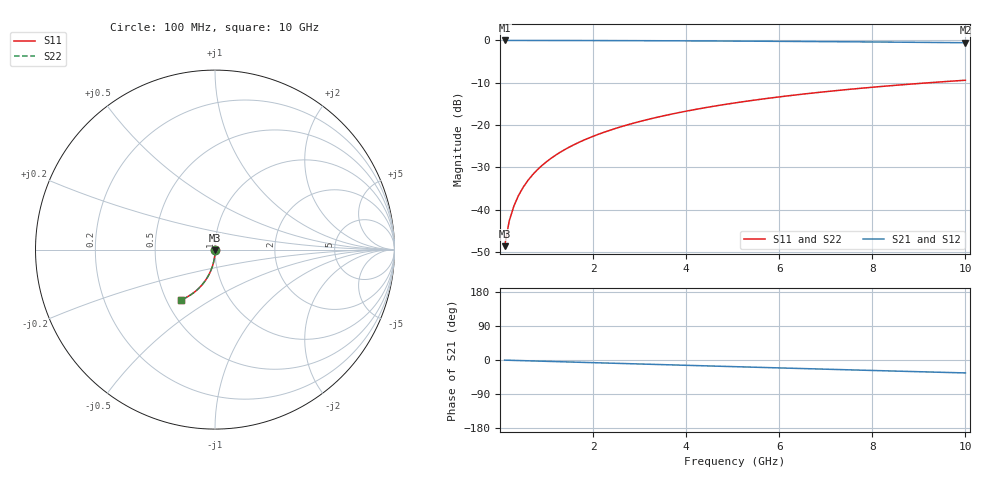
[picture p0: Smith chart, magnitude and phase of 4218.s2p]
# Hz S RI R 50.00
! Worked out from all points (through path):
!   100 points, 100 MHz to 10 GHz, reference 50 ohm
!   highest |S21| = 0.00 dB at 100 MHz (marker M1); lowest = -0.5 dB at 10 GHz (marker M2)
!   group delay of S21, straight-line fit = 9.51 ps
!   lowest |S11| = -48.6 dB at 100 MHz (marker M3), VSWR 1.01, Z = 50 - j0.369 ohm
!   |S11| at or under -10 dB: start of sweep to 9.216 GHz
!   |S22| runs from -48.6 to -9.4 dB; largest |S21 - S12| = 0
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1e8  0.000331 -0.00369  0.9996 -0.00611  0.9996 -0.00611  0.000331 -0.00369
2e8  0.000261 -0.00738  0.9995 -0.0122  0.9995 -0.0122  0.000261 -0.00738
3e8  0.000146 -0.0111  0.9994 -0.0183  0.9994 -0.0183  0.000146 -0.0111
4e8  -1.51e-05 -0.0147  0.9992 -0.0244  0.9992 -0.0244  -1.51e-05 -0.0147
5e8  -0.000221 -0.0184  0.999 -0.0305  0.999 -0.0305  -0.000221 -0.0184
6e8  -0.000472 -0.0221  0.9987 -0.0366  0.9987 -0.0366  -0.000472 -0.0221
7e8  -0.000769 -0.0258  0.9984 -0.0427  0.9984 -0.0427  -0.000769 -0.0258
8e8  -0.00111 -0.0295  0.998 -0.0488  0.998 -0.0488  -0.00111 -0.0295
9e8  -0.0015 -0.0331  0.9975 -0.0549  0.9975 -0.0549  -0.0015 -0.0331
1.1e9  -0.0024 -0.0405  0.9965 -0.0671  0.9965 -0.0671  -0.0024 -0.0405
1.4e9  -0.0041 -0.0514  0.9946 -0.0853  0.9946 -0.0853  -0.0041 -0.0514
1.8e9  -0.00698 -0.0659  0.9913 -0.1095  0.9913 -0.1095  -0.00698 -0.0659
2.1e9  -0.00961 -0.0766  0.9883 -0.1275  0.9883 -0.1275  -0.00961 -0.0766
2.5e9  -0.0137 -0.0908  0.9837 -0.1514  0.9837 -0.1514  -0.0137 -0.0908
2.9e9  -0.0185 -0.1048  0.9783 -0.1751  0.9783 -0.1751  -0.0185 -0.1048
3.4e9  -0.0254 -0.1218  0.9704 -0.2043  0.9704 -0.2043  -0.0254 -0.1218
4.2e9  -0.0386 -0.148  0.9554 -0.2502  0.9554 -0.2502  -0.0386 -0.148
5.1e9  -0.0562 -0.1757  0.9353 -0.3  0.9353 -0.3  -0.0562 -0.1757
5.9e9  -0.0741 -0.1984  0.9146 -0.3424  0.9146 -0.3424  -0.0741 -0.1984
6.7e9  -0.094 -0.219  0.8917 -0.383  0.8917 -0.383  -0.094 -0.219
8.4e9  -0.1412 -0.2556  0.8364 -0.4622  0.8364 -0.4622  -0.1412 -0.2556
1e10  -0.19 -0.2802  0.778 -0.5276  0.778 -0.5276  -0.19 -0.2802
